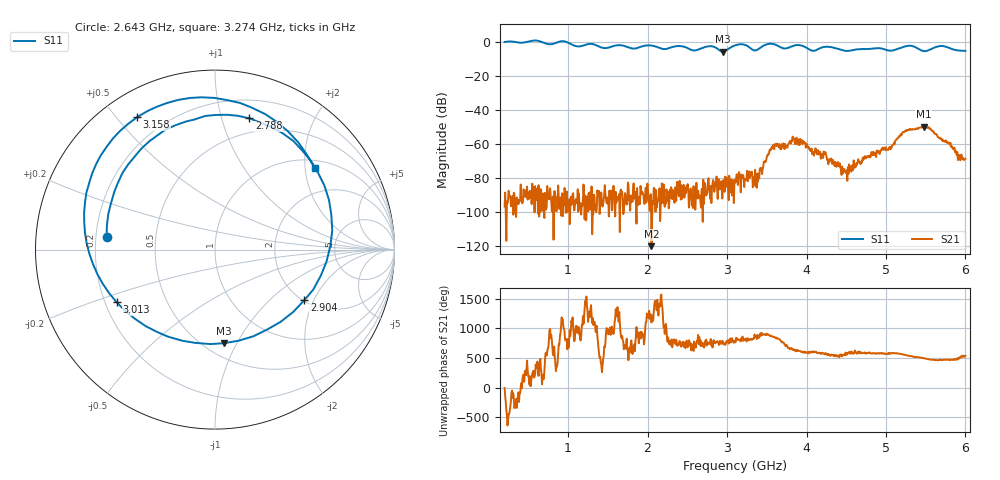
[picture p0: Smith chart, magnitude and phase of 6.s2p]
! NanoVNA-App by OneOfEleven et al v1.1.209 (+OD15)
! Date: 2024-07-30 15:17:49
! Start: 200MHz Stop: 6GHz Points: 801
! S-Parameter data: F S11 S21 S12 S22
# Hz S RI R 50
!  Frequency  S11_Real  S11_Imag  S21_Real  S21_Imag  S12_Real  S12_Imag  S22_Real  S22_Imag
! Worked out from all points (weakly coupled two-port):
!   801 points, 200 MHz to 6 GHz, reference 50 ohm
!   highest |S21| = -49.82 dB at 5.478 GHz (marker M1); lowest = -120.1 dB at 2.049 GHz (marker M2)
!   lowest |S11| = -5.6 dB at 2.948 GHz (marker M3), VSWR 3.20, Z = 31 - j44.5 ohm
!   |S11| at or under -10 dB: nowhere
!   S12 and S22 are empty: the file has one direction only
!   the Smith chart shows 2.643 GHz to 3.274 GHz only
!   S11 on the Smith chart (normalised r, x): 2.643 GHz: 0.24, +0.05; 2.788 GHz: 0.36, +1.23; 2.904 GHz: 2.02, -1.70; 3.013 GHz: 0.25, -0.24; 3.158 GHz: 0.10, +0.57; 3.274 GHz: 1.19, +2.24
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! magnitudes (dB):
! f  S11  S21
! 200 MHz  0.0  -96.7
! 1.171 GHz  -2.3  -95.1
! 2.049 GHz  -2.1  -120.1
! 2.136 GHz  -3.2  -92.5
! 2.643 GHz  -4.3  -91.5
! 2.788 GHz  -2.4  -92.2
! 2.904 GHz  -4.9  -82.2
! 2.948 GHz  -5.6  -82.2
! 3.013 GHz  -4.1  -86.6
! 3.1 GHz  -2.0  -82.6
! 3.158 GHz  -1.4  -78.9
! 3.274 GHz  -2.9  -77.1
! 3.39 GHz  -4.3  -82.1
! 3.607 GHz  -1.5  -59.9
! 3.854 GHz  -2.0  -60.0
! 4.072 GHz  -5.1  -65.9
! 4.485 GHz  -5.1  -76.3
! 5.036 GHz  -5.0  -62.9
! 5.239 GHz  -2.6  -52.4
! 5.478 GHz  -5.4  -49.8
! 5.696 GHz  -2.3  -57.1
! 6 GHz  -5.2  -68.6
